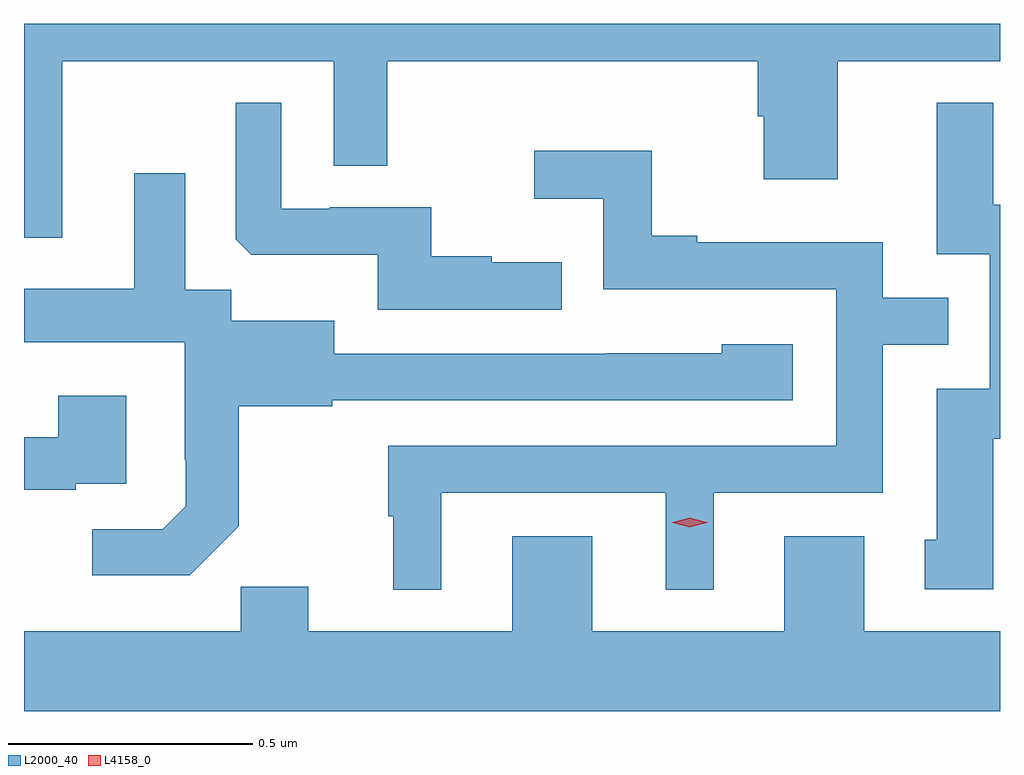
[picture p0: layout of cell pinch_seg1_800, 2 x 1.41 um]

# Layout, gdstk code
import gdstk
lib = gdstk.Library(unit=1e-6, precision=1e-09)
def P(c, l, *ps):  # polygons
    for p in ps: c.add(gdstk.Polygon(p, *l))
L2000_40 = (2000, 40)
L4158_0 = (4158, 0)

pinch_seg1_800 = lib.new_cell('pinch_seg1_800')
P(pinch_seg1_800, L2000_40, [(561.223,571.712),(561.78,571.712),(561.78,571.498),(561.889,571.498),(561.889,571.712),(562.649,571.712),(562.649,571.599),(562.661,571.599),(562.661,571.47),(562.813,571.47),(562.813,571.712),(563.145,571.712),(563.145,571.789),(561.145,571.789),(561.145,571.35),(561.223,571.35)],
  [(563.131,570.938),(563.145,570.938),(563.145,571.418),(563.131,571.418),(563.131,571.627),(563.015,571.627),(563.015,571.317),(563.124,571.317),(563.124,571.041),(563.015,571.041),(563.015,570.732),(562.991,570.732),(562.991,570.63),(563.131,570.63)],
  [(562.247,571.3),(562.103,571.3),(562.103,571.312),(561.98,571.312),(561.98,571.413),(561.772,571.413),(561.772,571.41),(561.672,571.41),(561.672,571.627),(561.579,571.627),(561.579,571.347),(561.611,571.316),(561.87,571.316),(561.87,571.203),(562.247,571.203)],
  [(562,570.828),(562.46,570.828),(562.46,570.629),(562.558,570.629),(562.558,570.828),(562.905,570.828),(562.905,571.131),(563.039,571.131),(563.039,571.227),(562.905,571.227),(562.905,571.341),(562.525,571.341),(562.525,571.354),(562.431,571.354),(562.431,571.529),(562.191,571.529),(562.191,571.43),(562.332,571.43),(562.332,571.245),(562.809,571.245),(562.809,570.924),(561.891,570.924),(561.891,570.78),(561.902,570.78),(561.902,570.629),(562,570.629)],
  [(561.585,570.759),(561.585,571.005),(561.777,571.005),(561.777,571.017),(562.72,571.017),(562.72,571.132),(562.575,571.132),(562.575,571.114),(562.339,571.114),(562.339,571.113),(561.781,571.113),(561.781,571.18),(561.57,571.18),(561.57,571.244),(561.475,571.244),(561.475,571.483),(561.371,571.483),(561.371,571.246),(561.145,571.246),(561.145,571.136),(561.474,571.136),(561.474,570.895),(561.476,570.895),(561.476,570.8),(561.429,570.753),(561.285,570.753),(561.285,570.659),(561.485,570.659)],
  [(561.251,570.846),(561.355,570.846),(561.355,571.027),(561.215,571.027),(561.215,570.942),(561.145,570.942),(561.145,570.834),(561.251,570.834)],
  [(563.145,570.544),(562.867,570.544),(562.867,570.739),(562.703,570.739),(562.703,570.544),(562.309,570.544),(562.309,570.739),(562.145,570.739),(562.145,570.544),(561.727,570.544),(561.727,570.635),(561.589,570.635),(561.589,570.544),(561.145,570.544),(561.145,570.38),(563.145,570.38)])
P(pinch_seg1_800, L4158_0, [(562.509,570.757),(562.474,570.766),(562.473,570.767),(562.474,570.767),(562.509,570.777),(562.544,570.767),(562.545,570.767),(562.544,570.766)])

lib.write_gds('pinch_seg1_800.gds')
